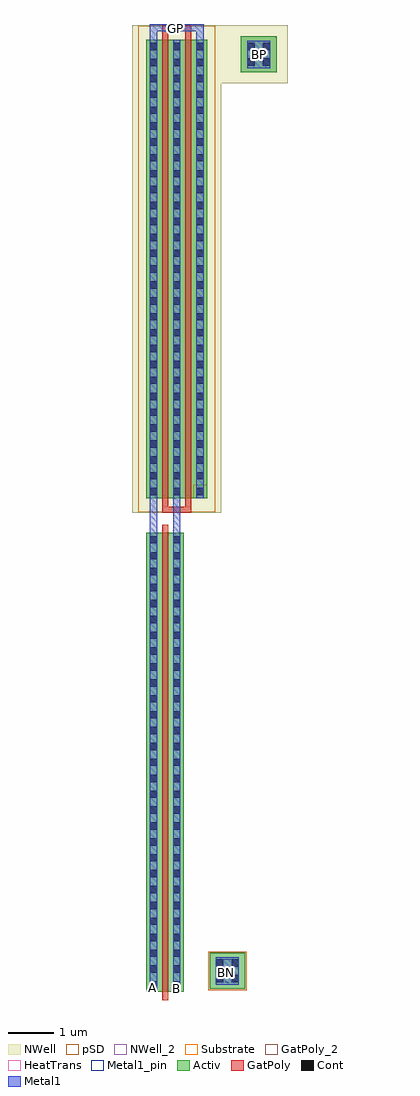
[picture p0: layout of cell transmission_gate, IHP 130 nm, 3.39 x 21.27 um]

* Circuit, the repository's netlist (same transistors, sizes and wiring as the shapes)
** sch_path: /home/designer/shared/OS_AnalogIC_UCLouvain_Oct2025/design_data/transmission_gate.sch
.subckt transmission_gate B GN GP A BP BN
*.PININFO B:B GN:B A:B GP:B BN:B BP:B
M1 A GN B BN sg13_lv_nmos w=10u l=0.13u ng=1 m=1
M2 A GP B BP sg13_lv_pmos w=20u l=0.13u ng=2 m=1
.ends

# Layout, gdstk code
import gdstk
lib = gdstk.Library(unit=1e-6, precision=5e-09)
def R(c, l, rs):  # rectangles x0, y0, x1, y1
    for r in rs: c.add(gdstk.rectangle(r[:2], r[2:], *l))
def A(c, l, x, y, w, h, nx, ny, dx, dy):  # array of equal rectangles
    R(c, l, [(x+i*dx, y+j*dy, x+i*dx+w, y+j*dy+h) for i in range(nx) for j in range(ny)])
Activ = (1, 0)
GatPoly = (5, 0)
GatPoly_2 = (5, 2)
Cont = (6, 0)
Metal1 = (8, 0)
Metal1_pin = (8, 2)
pSD = (14, 0)
NWell = (31, 0)
NWell_2 = (31, 2)
Substrate = (40, 0)
HeatTrans = (51, 0)

nmos_1 = lib.new_cell('nmos$1')
R(nmos_1, Activ, [(0,0,0.3,0.3), (0,0,0.81,10), (0.51,0,0.81,0.3)])
R(nmos_1, GatPoly, [(0.34,-0.18,0.47,10.18)])
R(nmos_1, GatPoly_2, [(0.34,-0.18,0.47,10.18)])
A(nmos_1, Cont, 0.07, 0.07, 0.16, 0.16, 1, 4, 0, 0.345)
A(nmos_1, Cont, 0.58, 0.07, 0.16, 0.16, 1, 4, 0, 0.345)
A(nmos_1, Cont, 0.07, 1.455, 0.16, 0.16, 1, 3, 0, 0.345)
A(nmos_1, Cont, 0.58, 1.455, 0.16, 0.16, 1, 3, 0, 0.345)
A(nmos_1, Cont, 0.07, 2.495, 0.16, 0.16, 1, 4, 0, 0.345)
A(nmos_1, Cont, 0.58, 2.495, 0.16, 0.16, 1, 4, 0, 0.345)
A(nmos_1, Cont, 0.07, 3.88, 0.16, 0.16, 1, 3, 0, 0.345)
A(nmos_1, Cont, 0.58, 3.88, 0.16, 0.16, 1, 3, 0, 0.345)
A(nmos_1, Cont, 0.07, 4.92, 0.16, 0.16, 1, 4, 0, 0.345)
A(nmos_1, Cont, 0.58, 4.92, 0.16, 0.16, 1, 4, 0, 0.345)
A(nmos_1, Cont, 0.07, 6.305, 0.16, 0.16, 1, 3, 0, 0.345)
A(nmos_1, Cont, 0.58, 6.305, 0.16, 0.16, 1, 3, 0, 0.345)
A(nmos_1, Cont, 0.07, 7.345, 0.16, 0.16, 1, 4, 0, 0.345)
A(nmos_1, Cont, 0.58, 7.345, 0.16, 0.16, 1, 4, 0, 0.345)
A(nmos_1, Cont, 0.07, 8.73, 0.16, 0.16, 1, 3, 0, 0.345)
A(nmos_1, Cont, 0.58, 8.73, 0.16, 0.16, 1, 3, 0, 0.345)
R(nmos_1, Cont, [(0.07,9.77,0.23,9.93), (0.58,9.77,0.74,9.93)])
R(nmos_1, Metal1, [(0.07,0,0.23,10), (0.58,0,0.74,10)])
R(nmos_1, Metal1_pin, [(0.07,0,0.23,10), (0.58,0,0.74,10)])
R(nmos_1, HeatTrans, [(0.34,-0.18,0.47,10.18)])
nmos_1.add(gdstk.Label('nmos', (0.405,5), layer=63, texttype=0))
nmos_1.add(gdstk.Label('nmos', (0.405,5), layer=51, texttype=0))

pmos = lib.new_cell('pmos')
A(pmos, Activ, 0, 0, 0.3, 0.3, 3, 1, 0.51, 0)
R(pmos, Activ, [(0,0,1.32,10)])
R(pmos, GatPoly, [(0.34,-0.18,0.47,10.18), (0.34,-0.18,0.47,10.18), (0.85,-0.18,0.98,10.18)])
A(pmos, Cont, 0.07, 0.07, 0.16, 0.16, 3, 4, 0.51, 0.345)
A(pmos, Cont, 0.07, 1.455, 0.16, 0.16, 3, 3, 0.51, 0.345)
A(pmos, Cont, 0.07, 2.495, 0.16, 0.16, 3, 4, 0.51, 0.345)
A(pmos, Cont, 0.07, 3.88, 0.16, 0.16, 3, 3, 0.51, 0.345)
A(pmos, Cont, 0.07, 4.92, 0.16, 0.16, 3, 4, 0.51, 0.345)
A(pmos, Cont, 0.07, 6.305, 0.16, 0.16, 3, 3, 0.51, 0.345)
A(pmos, Cont, 0.07, 7.345, 0.16, 0.16, 3, 4, 0.51, 0.345)
A(pmos, Cont, 0.07, 8.73, 0.16, 0.16, 3, 3, 0.51, 0.345)
A(pmos, Cont, 0.07, 9.77, 0.16, 0.16, 3, 1, 0.51, 0)
R(pmos, Metal1, [(0.07,0,0.23,10), (0.07,0,0.23,10), (0.58,0,0.74,10), (0.58,0,0.74,10), (1.09,0,1.25,10)])
R(pmos, pSD, [(-0.18,-0.3,1.5,10.3)])
R(pmos, NWell, [(-0.31,-0.31,1.63,10.31)])
R(pmos, Substrate, [(1.02,0,1.32,0.3)])
R(pmos, HeatTrans, [(0.34,-0.18,0.47,10.18), (0.85,-0.18,0.98,10.18)])
pmos.add(gdstk.Label('pmos', (0.405,5), layer=63, texttype=0))
pmos.add(gdstk.Label('pmos', (0.405,5), layer=51, texttype=0))
pmos.add(gdstk.Label('pmos', (0.915,5), layer=51, texttype=0))

transmission_gate = lib.new_cell('transmission_gate')
R(transmission_gate, Activ, [(0.595,-21.335,1.375,-20.555), (1.28,-1.36,2.06,-0.58)])
R(transmission_gate, GatPoly, [(-0.44,-10.96,0.2,-10.83), (-0.44,-0.47,0.2,-0.34)])
R(transmission_gate, Cont, [(0.735,-21.195,0.895,-21.035), (1.075,-21.195,1.235,-21.035), (0.735,-20.855,0.895,-20.695), (1.075,-20.855,1.235,-20.695), (1.42,-1.22,1.58,-1.06), (1.76,-1.22,1.92,-1.06), (1.42,-0.88,1.58,-0.72), (1.76,-0.88,1.92,-0.72)])
R(transmission_gate, Metal1, [(0.735,-21.245,1.235,-20.645), (0.735,-21.195,1.235,-20.695), (-0.71,-11.4,-0.55,-10.65), (-0.2,-11.4,-0.04,-10.65), (1.42,-1.27,1.92,-0.67), (-0.71,-0.65,-0.55,-0.47), (0.31,-0.65,0.47,-0.47), (-0.71,-0.47,0.47,-0.31)])
R(transmission_gate, Metal1_pin, [(0.735,-21.195,1.235,-20.695), (1.42,-1.27,1.92,-0.67), (1.42,-1.22,1.92,-0.72)])
R(transmission_gate, pSD, [(0.565,-21.365,1.405,-20.525)])
R(transmission_gate, NWell, [(0.85,-1.6,1.04,-0.34), (1.04,-1.6,2.3,-0.34), (1.28,-1.36,2.06,-0.58)])
R(transmission_gate, NWell_2, [(1.28,-1.36,2.06,-0.58)])
R(transmission_gate, Substrate, [(0.595,-21.335,1.375,-20.555)])
transmission_gate.add(gdstk.Reference(nmos_1, (-0.78,-21.4)))
transmission_gate.add(gdstk.Reference(pmos, (-0.78,-10.65)))
transmission_gate.add(gdstk.Label('BP', (1.68,-0.975), layer=8, texttype=2))
transmission_gate.add(gdstk.Label('BN', (0.96,-20.97), layer=8, texttype=2))
transmission_gate.add(gdstk.Label('A', (-0.645,-21.315), layer=8, texttype=2))
transmission_gate.add(gdstk.Label('B', (-0.135,-21.34), layer=8, texttype=2))
transmission_gate.add(gdstk.Label('GP', (-0.14,-0.41), layer=5, texttype=2))
transmission_gate.add(gdstk.Label('GN', (-0.39,-21.52), layer=5, texttype=2))

lib.write_gds('transmission_gate.gds')
